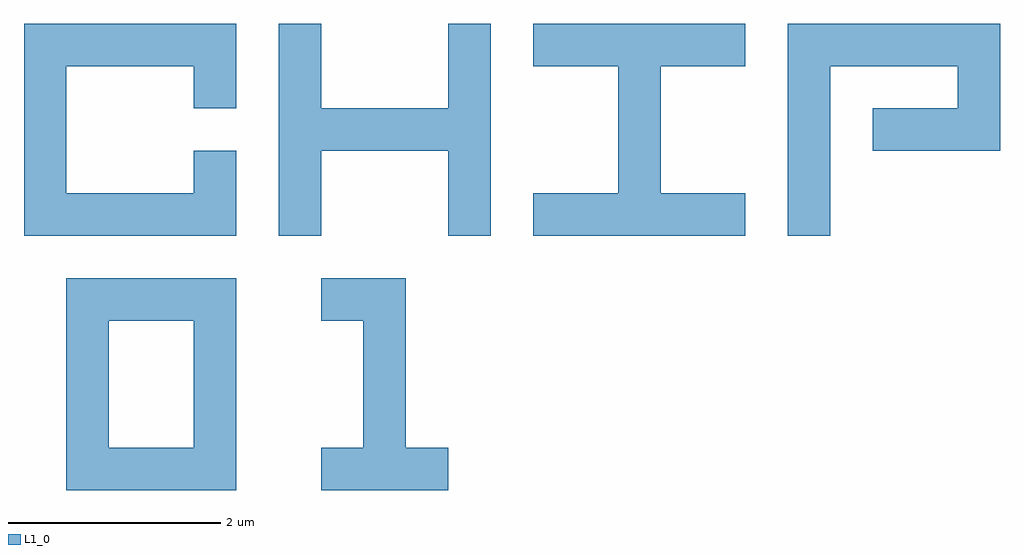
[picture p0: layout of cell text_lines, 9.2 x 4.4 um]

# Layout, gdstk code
import gdstk
lib = gdstk.Library(unit=1e-6, precision=1e-09)
def R(c, l, rs):  # rectangles x0, y0, x1, y1
    for r in rs: c.add(gdstk.rectangle(r[:2], r[2:], *l))
def A(c, l, x, y, w, h, nx, ny, dx, dy):  # array of equal rectangles
    R(c, l, [(x+i*dx, y+j*dy, x+i*dx+w, y+j*dy+h) for i in range(nx) for j in range(ny)])
L1_0 = (1, 0)

text_rectangular_size0p_ = lib.new_cell('text_rectangular_size0p_b6541a54')
A(text_rectangular_size0p_, L1_0, 0, 0, 0.4, 0.4, 5, 2, 0.4, 1.6)
A(text_rectangular_size0p_, L1_0, 4.8, 0, 0.4, 0.4, 5, 2, 0.4, 1.6)
A(text_rectangular_size0p_, L1_0, 0, 0.4, 0.4, 0.4, 1, 3, 0, 0.4)
A(text_rectangular_size0p_, L1_0, 2.4, 0.4, 0.4, 0.4, 4, 1, 1.6, 0)
A(text_rectangular_size0p_, L1_0, 2.4, 0.8, 0.4, 0.4, 5, 1, 0.4, 0)
A(text_rectangular_size0p_, L1_0, 8, 0.8, 0.4, 0.4, 3, 1, 0.4, 0)
A(text_rectangular_size0p_, L1_0, 2.4, 1.2, 0.4, 0.4, 5, 1, 1.6, 0)
A(text_rectangular_size0p_, L1_0, 7.2, 1.6, 0.4, 0.4, 5, 1, 0.4, 0)
R(text_rectangular_size0p_, L1_0, [(2.4,0,2.8,0.4), (4,0,4.4,0.4), (7.2,0,7.6,0.4), (1.6,0.4,2,0.8), (5.6,0.8,6,1.2), (7.2,0.8,7.6,1.2), (1.6,1.2,2,1.6), (2.4,1.6,2.8,2), (4,1.6,4.4,2)])

text_rectangular_size0p4 = lib.new_cell('text_rectangular_size0p4_text01')
A(text_rectangular_size0p4, L1_0, 0.4, 0, 0.4, 0.4, 4, 2, 0.4, 1.6)
A(text_rectangular_size0p4, L1_0, 2.8, 0, 0.4, 0.4, 3, 1, 0.4, 0)
A(text_rectangular_size0p4, L1_0, 0.4, 0.4, 0.4, 0.4, 1, 3, 0, 0.4)
A(text_rectangular_size0p4, L1_0, 1.6, 0.4, 0.4, 0.4, 1, 3, 0, 0.4)
A(text_rectangular_size0p4, L1_0, 3.2, 0.4, 0.4, 0.4, 1, 4, 0, 0.4)
R(text_rectangular_size0p4, L1_0, [(2.8,1.6,3.2,2)])

text_lines = lib.new_cell('text_lines')
text_lines.add(gdstk.Reference(text_rectangular_size0p_, (0,-2.4)))
text_lines.add(gdstk.Reference(text_rectangular_size0p4, (0,-4.8)))

lib.write_gds('text_lines.gds')
